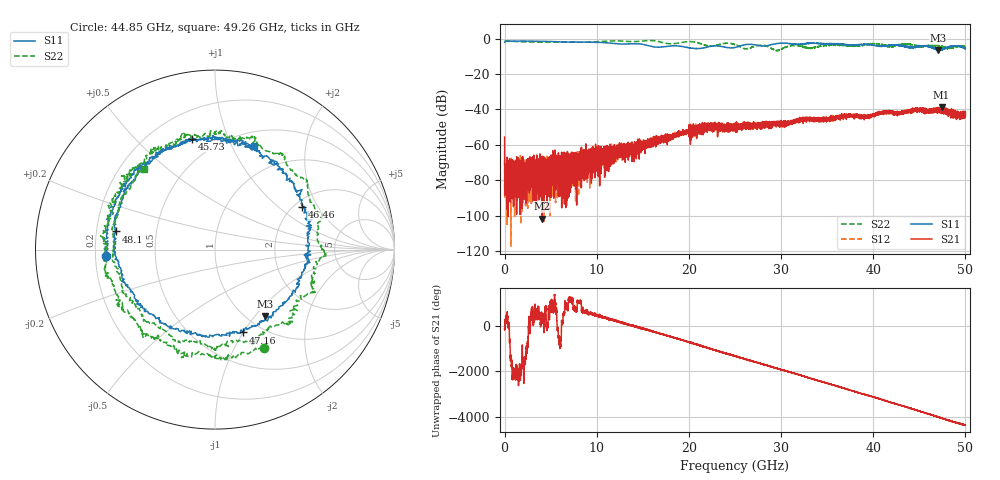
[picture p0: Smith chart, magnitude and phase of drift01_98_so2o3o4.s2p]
!Created with skrf (http://scikit-rf.org).
# Hz S RI R 50.0
!freq ReS11 ImS11 ReS21 ImS21 ReS12 ImS12 ReS22 ImS22
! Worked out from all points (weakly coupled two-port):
!   10001 points, 300 kHz to 50 GHz, reference 50 ohm
!   highest |S21| = -38.83 dB at 47.42 GHz (marker M1); lowest = -101.7 dB at 4.06 GHz (marker M2)
!   lowest |S11| = -6.6 dB at 47.03 GHz (marker M3), VSWR 2.74, Z = 59.8 - j56.7 ohm
!   |S11| at or under -10 dB: nowhere
!   |S22| runs from -6.8 to -1.0 dB; largest |S21 - S12| = 0.004
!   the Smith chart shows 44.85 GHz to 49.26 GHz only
!   S11 on the Smith chart (normalised r, x): 44.85 GHz: 0.24, -0.03; 45.73 GHz: 0.36, +0.75; 46.46 GHz: 2.21, +1.49; 47.16 GHz: 0.83, -1.00; 48.1 GHz: 0.28, +0.08; 49.26 GHz: 0.66, +1.22
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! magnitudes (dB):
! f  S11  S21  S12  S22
! 300 kHz  -2.1  -55.7  -68.8  -1.3
! 255.3 MHz  -1.4  -96.4  -80.5  -1.4
! 4.06 GHz  -1.6  -101.7  -90.1  -2.1
! 6.325 GHz  -1.9  -80.7  -82.0  -1.9
! 8.335 GHz  -1.9  -71.3  -71.0  -2.1
! 16.67 GHz  -4.8  -55.8  -57.8  -1.6
! 21.62 GHz  -5.2  -51.8  -50.3  -3.4
! 25 GHz  -5.0  -47.8  -49.5  -3.4
! 28.09 GHz  -4.3  -47.3  -48.5  -3.8
! 29.53 GHz  -2.8  -48.2  -47.8  -6.7
! 31.3 GHz  -3.1  -47.6  -46.9  -3.9
! 33.34 GHz  -2.6  -45.5  -45.0  -5.5
! 41.67 GHz  -3.9  -40.9  -41.7  -4.4
! 44.85 GHz  -4.3  -40.4  -40.1  -4.3
! 45.73 GHz  -4.0  -40.7  -41.0  -4.4
! 46.46 GHz  -5.3  -40.9  -41.2  -3.7
! 47.03 GHz  -6.6  -40.7  -40.5  -4.2
! 47.16 GHz  -6.2  -39.6  -40.1  -4.1
! 47.42 GHz  -6.2  -38.8  -41.2  -4.5
! 48.1 GHz  -5.0  -41.7  -41.9  -4.9
! 49.26 GHz  -4.2  -42.2  -43.6  -4.4
! 50 GHz  -5.6  -43.6  -42.0  -4.2
